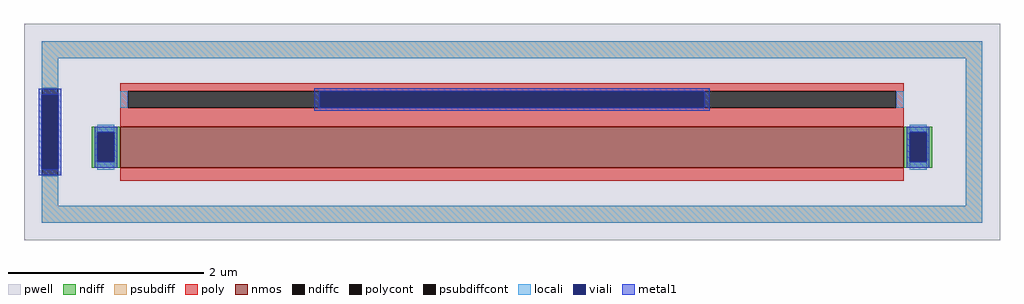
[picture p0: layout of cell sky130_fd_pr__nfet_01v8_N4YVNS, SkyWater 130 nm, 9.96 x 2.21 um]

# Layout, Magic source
magic
tech sky130A
magscale 1 2
<< pwell >>
rect -996 -221 996 221
<< nmos >>
rect -800 -73 800 11
<< ndiff >>
rect -858 -1 -800 11
rect -858 -61 -846 -1
rect -812 -61 -800 -1
rect -858 -73 -800 -61
rect 800 -1 858 11
rect 800 -61 812 -1
rect 846 -61 858 -1
rect 800 -73 858 -61
<< ndiffc >>
rect -846 -61 -812 -1
rect 812 -61 846 -1
<< psubdiff >>
rect -960 151 960 185
rect -960 89 -926 151
rect -960 -151 -926 -89
rect 926 -151 960 151
rect -960 -185 960 -151
<< psubdiffcont >>
rect -960 -89 -926 89
<< poly >>
rect -800 83 800 99
rect -800 49 -784 83
rect 784 49 800 83
rect -800 11 800 49
rect -800 -99 800 -73
<< polycont >>
rect -784 49 784 83
<< locali >>
rect -960 151 960 185
rect -960 89 -926 151
rect -800 49 -784 83
rect 784 49 800 83
rect -846 -1 -812 15
rect -846 -77 -812 -61
rect 812 -1 846 15
rect 812 -77 846 -61
rect -960 -151 -926 -89
rect 926 -151 960 151
rect -960 -185 960 -151
<< viali >>
rect -960 -76 -926 76
rect -392 49 392 83
rect -846 -61 -812 -1
rect 812 -61 846 -1
<< metal1 >>
rect -966 76 -920 88
rect -966 -76 -960 76
rect -926 -76 -920 76
rect -404 83 404 89
rect -404 49 -392 83
rect 392 49 404 83
rect -404 43 404 49
rect -852 -1 -806 11
rect -852 -61 -846 -1
rect -812 -61 -806 -1
rect -852 -73 -806 -61
rect 806 -1 852 11
rect 806 -61 812 -1
rect 846 -61 852 -1
rect 806 -73 852 -61
rect -966 -88 -920 -76
<< properties >>
string FIXED_BBOX -943 -168 943 168
string gencell sky130_fd_pr__nfet_01v8
string library sky130
string parameters w 0.42 l 8.0 m 1 nf 1 diffcov 100 polycov 100 guard 1 glc 1 grc 0 gtc 0 gbc 0 tbcov 100 rlcov 100 topc 1 botc 0 poverlap 0 doverlap 1 lmin 0.15 wmin 0.42 compatible {sky130_fd_pr__nfet_01v8 sky130_fd_pr__nfet_01v8_lvt  sky130_fd_bs_flash__special_sonosfet_star  sky130_fd_pr__nfet_g5v0d10v5 sky130_fd_pr__nfet_05v0_nvt  sky130_fd_pr__nfet_03v3_nvt} full_metal 1 viasrc 100 viadrn 100 viagate 50 viagb 0 viagr 0 viagl 50 viagt 0
<< end >>
